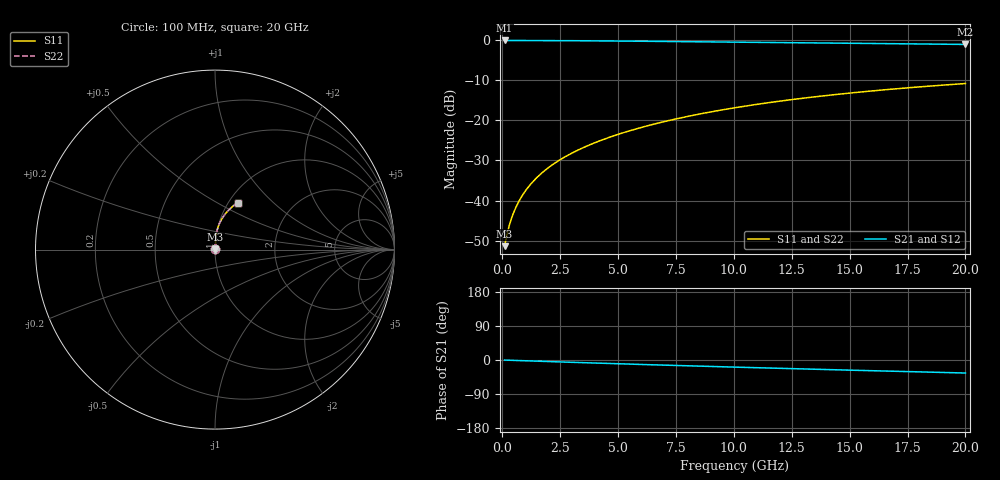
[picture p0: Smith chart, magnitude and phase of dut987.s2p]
! Touchstone file exported from HFSS 2024.1.0
!  File:  C:/UserFiles/LocalFiles/RDL_TSV_Batchsim/temp_RDL_bottom_987_1779943761.aedt
!  Generated:  12:51:32 PM May 28, 2026
!  Design:  RDL_bottom
!  Project:  temp_RDL_bottom_987_1779943761
!  Setup:  Setup1
!  Solution:  Sweep
! Variables:
!  dtsv = 10.80580581um
!  hbump = 3um
!  htsv = 74.95um
!  ldown = 513.57um
!  lrdl = 100um
!  p = 40
!  p1 = 44.2um
!  rhole = 1um
!  t = 450um
!  tdown = 3.89um
!  trdl = 3.915915916um
!  wdown = 22.79um
!  wrdl = 20um
# GHz S MA R 50.000000
! Terminal data exported
! Port[1] = RDL1_T1
! Port[2] = RDL1_T2
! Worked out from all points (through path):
!   200 points, 100 MHz to 20 GHz, reference 50 ohm
!   highest |S21| = -0.02 dB at 100 MHz (marker M1); lowest = -1.0 dB at 20 GHz (marker M2)
!   group delay of S21, straight-line fit = 4.72 ps
!   lowest |S11| = -51.4 dB at 100 MHz (marker M3), VSWR 1.01, Z = 50.2 + j0.148 ohm
!   |S11| at or under -10 dB: start of sweep to end of sweep
!   |S22| runs from -51.4 to -10.8 dB; largest |S21 - S12| = 3e-15
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0.1  0.002691 33.1  0.9977 -0.2  0.9977 -0.2  0.002691 33.1
! Gamma 0 0 0 0
! Port Impedance 50 0 50 0
0.2  0.003725 50.1  0.9976 -0.4  0.9976 -0.4  0.003725 50.1
0.3  0.004866 58.7  0.9974 -0.6  0.9974 -0.6  0.004866 58.7
0.4  0.006021 64.1  0.9972 -0.8  0.9972 -0.8  0.006022 64.1
0.5  0.007186 67.9  0.9971 -1.0  0.9971 -1.0  0.007186 67.9
0.6  0.008364 70.8  0.997 -1.3  0.997 -1.3  0.008364 70.8
0.8  0.01076 74.9  0.9967 -1.7  0.9967 -1.7  0.01076 74.9
1.1  0.01443 78.6  0.9962 -2.3  0.9962 -2.3  0.01443 78.6
1.3  0.01693 80.3  0.9958 -2.7  0.9958 -2.7  0.01693 80.3
1.6  0.02071 82.0  0.9952 -3.3  0.9952 -3.3  0.02071 82.0
2.1  0.02713 83.8  0.9939 -4.3  0.9939 -4.3  0.02713 83.8
2.7  0.03501 85.1  0.9919 -5.5  0.9919 -5.5  0.03501 85.1
3.5  0.04582 85.9  0.9886 -7.1  0.9886 -7.1  0.04582 85.9
4.2  0.05555 86.1  0.9854 -8.4  0.9854 -8.4  0.05555 86.1
5  0.067 86.0  0.9812 -9.9  0.9812 -9.9  0.067 86.0
6.8  0.09379 84.8  0.9709 -13.2  0.9709 -13.2  0.09379 84.8
8.4  0.1184 82.9  0.9611 -16.0  0.9611 -16.0  0.1184 82.9
10.1  0.145 80.5  0.9506 -18.9  0.9506 -18.9  0.145 80.5
11.7  0.1699 78.0  0.9407 -21.5  0.9407 -21.5  0.1699 78.0
13.4  0.1959 75.2  0.9303 -24.3  0.9303 -24.3  0.1959 75.2
16.7  0.2443 69.6  0.9101 -29.4  0.9101 -29.4  0.2443 69.6
20  0.289 64.2  0.8901 -34.4  0.8901 -34.4  0.289 64.2
